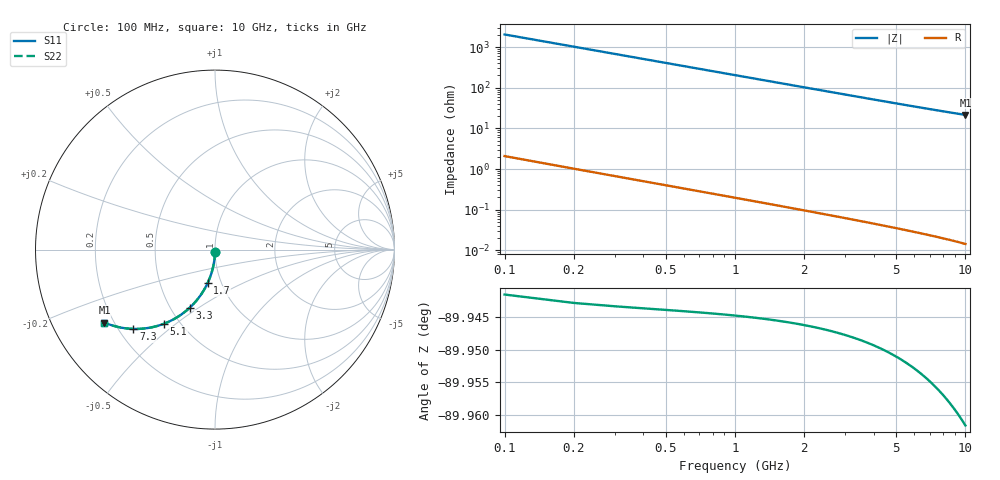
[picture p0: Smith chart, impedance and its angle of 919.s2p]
# Hz S RI R 50.00
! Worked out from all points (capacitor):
!   100 points, 100 MHz to 10 GHz, reference 50 ohm
!   read as one part in shunt: C = 781 fF near 100 MHz
!   lowest |Z| = 21.4 ohm at 10 GHz (marker M1)
!   S11 on the Smith chart (normalised r, x): 100 MHz: 1.00, -0.02; 1.7 GHz: 0.86, -0.33; 3.3 GHz: 0.62, -0.46; 5.1 GHz: 0.41, -0.45; 7.3 GHz: 0.26, -0.38; 10 GHz: 0.16, -0.29
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1e8  8.64e-05 -0.0115  0.9996 -0.013  0.9996 -0.013  8.64e-05 -0.0115
2e8  -0.000373 -0.023  0.9991 -0.026  0.9991 -0.026  -0.000373 -0.023
3e8  -0.00113 -0.0345  0.9984 -0.039  0.9984 -0.039  -0.00113 -0.0345
4e8  -0.00219 -0.046  0.9973 -0.0519  0.9973 -0.0519  -0.00219 -0.046
5e8  -0.00354 -0.0574  0.9959 -0.0648  0.9959 -0.0648  -0.00354 -0.0574
6e8  -0.00519 -0.0687  0.9943 -0.0777  0.9943 -0.0777  -0.00519 -0.0687
8e8  -0.00935 -0.0913  0.9901 -0.1032  0.9901 -0.1032  -0.00935 -0.0913
1.1e9  -0.0177 -0.1244  0.9816 -0.1408  0.9816 -0.1408  -0.0177 -0.1244
1.4e9  -0.0285 -0.1565  0.9707 -0.1774  0.9707 -0.1774  -0.0285 -0.1565
1.7e9  -0.0416 -0.1874  0.9576 -0.2128  0.9576 -0.2128  -0.0416 -0.1874
1.8e9  -0.0464 -0.1974  0.9527 -0.2243  0.9527 -0.2243  -0.0464 -0.1974
2.1e9  -0.0623 -0.2264  0.9367 -0.2578  0.9367 -0.2578  -0.0623 -0.2264
2.5e9  -0.0862 -0.2624  0.9125 -0.2998  0.9125 -0.2998  -0.0862 -0.2624
3.3e9  -0.1418 -0.3244  0.8565 -0.374  0.8565 -0.374  -0.1418 -0.3244
3.4e9  -0.1493 -0.3312  0.8489 -0.3823  0.8489 -0.3823  -0.1493 -0.3312
4.2e9  -0.2121 -0.3775  0.7854 -0.4408  0.7854 -0.4408  -0.2121 -0.3775
5.1e9  -0.2854 -0.4134  0.7111 -0.4905  0.7111 -0.4905  -0.2854 -0.4134
5.9e9  -0.3498 -0.4323  0.6456 -0.5218  0.6456 -0.5218  -0.3498 -0.4323
6.7e9  -0.4112 -0.441  0.583 -0.543  0.583 -0.543  -0.4112 -0.441
7.3e9  -0.4546 -0.4419  0.5386 -0.5535  0.5386 -0.5535  -0.4546 -0.4419
8.4e9  -0.527 -0.4338  0.464 -0.5631  0.464 -0.5631  -0.527 -0.4338
1e10  -0.6157 -0.4065  0.3715 -0.5621  0.3715 -0.5621  -0.6157 -0.4065
